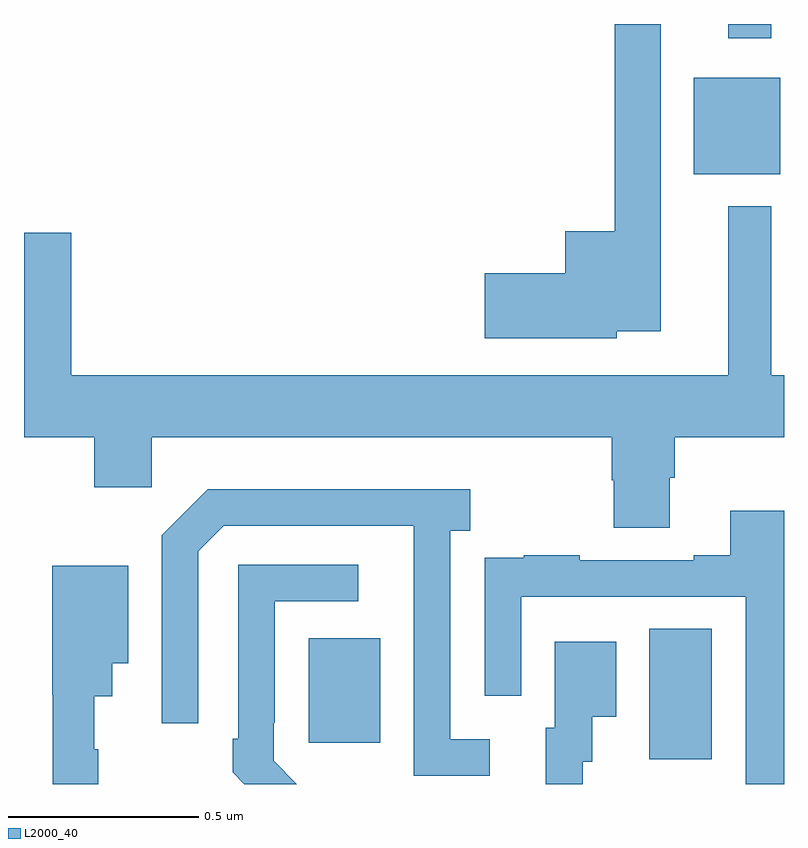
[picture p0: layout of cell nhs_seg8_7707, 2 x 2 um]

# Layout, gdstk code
import gdstk
lib = gdstk.Library(unit=1e-6, precision=1e-09)
def R(c, l, rs):  # rectangles x0, y0, x1, y1
    for r in rs: c.add(gdstk.rectangle(r[:2], r[2:], *l))
def P(c, l, *ps):  # polygons
    for p in ps: c.add(gdstk.Polygon(p, *l))
L2000_40 = (2000, 40)

nhs_seg8_7707 = lib.new_cell('nhs_seg8_7707')
R(nhs_seg8_7707, L2000_40, [(214.646,1136.965,214.81,1137.308), (213.749,1137.009,213.937,1137.283), (214.763,1138.505,214.99,1138.759), (214.853,1138.863,214.967,1138.9)])
P(nhs_seg8_7707, L2000_40, [(214.56,1138.091),(214.675,1138.091),(214.675,1138.9),(214.554,1138.9),(214.554,1138.354),(214.424,1138.354),(214.424,1138.244),(214.212,1138.244),(214.212,1138.073),(214.56,1138.073)],
  [(214.699,1137.706),(214.712,1137.706),(214.712,1137.812),(215,1137.812),(215,1137.976),(214.967,1137.976),(214.967,1138.42),(214.853,1138.42),(214.853,1137.976),(213.124,1137.976),(213.124,1138.351),(213,1138.351),(213,1137.812),(213.185,1137.812),(213.185,1137.681),(213.336,1137.681),(213.336,1137.812),(214.547,1137.812),(214.547,1137.699),(214.552,1137.699),(214.552,1137.574),(214.699,1137.574)],
  [(214.225,1137.018),(214.122,1137.018),(214.122,1137.566),(214.174,1137.566),(214.174,1137.676),(213.484,1137.676),(213.363,1137.555),(213.363,1137.06),(213.459,1137.06),(213.459,1137.513),(213.525,1137.579),(214.025,1137.579),(214.025,1137.379),(214.026,1137.379),(214.026,1136.922),(214.225,1136.922)],
  [(215,1137.619),(214.859,1137.619),(214.859,1137.502),(214.763,1137.502),(214.763,1137.489),(214.463,1137.489),(214.463,1137.502),(214.315,1137.502),(214.315,1137.495),(214.213,1137.495),(214.213,1137.386),(214.212,1137.386),(214.212,1137.132),(214.308,1137.132),(214.308,1137.393),(214.899,1137.393),(214.899,1136.9),(215,1136.9)],
  [(213.657,1136.961),(213.657,1137.061),(213.66,1137.061),(213.66,1137.381),(213.88,1137.381),(213.88,1137.477),(213.564,1137.477),(213.564,1137.019),(213.549,1137.019),(213.549,1136.931),(213.58,1136.9),(213.718,1136.9)],
  [(213.196,1136.991),(213.185,1136.991),(213.185,1137.131),(213.232,1137.131),(213.232,1137.218),(213.274,1137.218),(213.274,1137.475),(213.074,1137.475),(213.074,1137.135),(213.075,1137.135),(213.075,1136.9),(213.196,1136.9)],
  [(214.47,1136.958),(214.495,1136.958),(214.495,1137.077),(214.558,1137.077),(214.558,1137.274),(214.397,1137.274),(214.397,1137.048),(214.373,1137.048),(214.373,1136.9),(214.47,1136.9)])

lib.write_gds('nhs_seg8_7707.gds')
